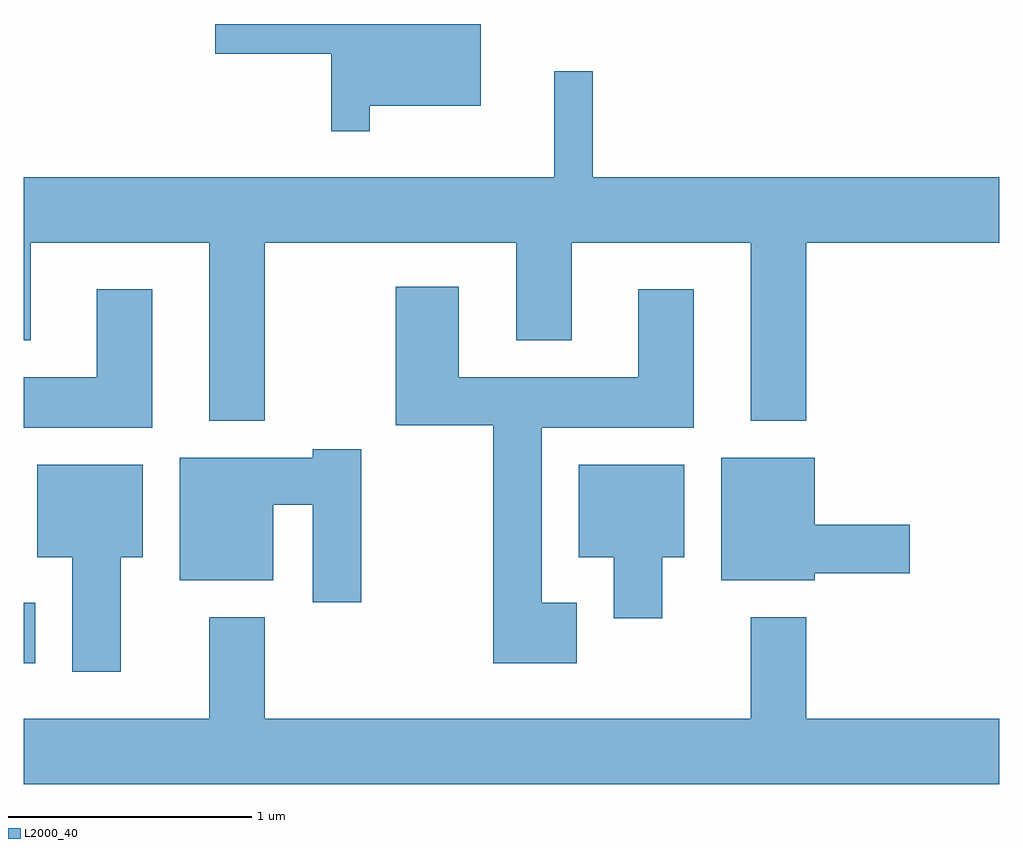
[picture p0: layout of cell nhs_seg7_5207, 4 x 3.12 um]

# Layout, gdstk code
import gdstk
lib = gdstk.Library(unit=1e-6, precision=1e-09)
def R(c, l, rs):  # rectangles x0, y0, x1, y1
    for r in rs: c.add(gdstk.rectangle(r[:2], r[2:], *l))
def P(c, l, *ps):  # polygons
    for p in ps: c.add(gdstk.Polygon(p, *l))
L2000_40 = (2000, 40)

nhs_seg7_5207 = lib.new_cell('nhs_seg7_5207')
R(nhs_seg7_5207, L2000_40, [(343.611,1783.631,343.659,1783.879)])
P(nhs_seg7_5207, L2000_40, [(345.029,1785.916),(345.484,1785.916),(345.484,1786.252),(344.396,1786.252),(344.396,1786.131),(344.871,1786.131),(344.871,1785.813),(345.029,1785.813)],
  [(344.599,1785.356),(345.631,1785.356),(345.631,1784.956),(345.859,1784.956),(345.859,1785.356),(346.591,1785.356),(346.591,1784.626),(346.819,1784.626),(346.819,1785.356),(347.611,1785.356),(347.611,1785.624),(345.944,1785.624),(345.944,1786.058),(345.786,1786.058),(345.786,1785.624),(343.611,1785.624),(343.611,1784.956),(343.639,1784.956),(343.639,1785.356),(344.371,1785.356),(344.371,1784.626),(344.599,1784.626)],
  [(345.879,1783.879),(345.734,1783.879),(345.734,1784.596),(346.359,1784.596),(346.359,1785.164),(346.131,1785.164),(346.131,1784.804),(345.394,1784.804),(345.394,1785.174),(345.136,1785.174),(345.136,1784.606),(345.536,1784.606),(345.536,1783.631),(345.879,1783.631)],
  [(344.139,1785.164),(343.911,1785.164),(343.911,1784.804),(343.611,1784.804),(343.611,1784.596),(344.139,1784.596)],
  [(344.994,1784.509),(344.796,1784.509),(344.796,1784.474),(344.251,1784.474),(344.251,1783.971),(344.634,1783.971),(344.634,1784.281),(344.796,1784.281),(344.796,1783.881),(344.994,1783.881)],
  [(346.854,1784.001),(347.244,1784.001),(347.244,1784.199),(346.854,1784.199),(346.854,1784.474),(346.471,1784.474),(346.471,1783.971),(346.854,1783.971)],
  [(346.229,1784.066),(346.319,1784.066),(346.319,1784.444),(345.886,1784.444),(345.886,1784.066),(346.031,1784.066),(346.031,1783.816),(346.229,1783.816)],
  [(344.009,1784.066),(344.099,1784.066),(344.099,1784.444),(343.666,1784.444),(343.666,1784.066),(343.811,1784.066),(343.811,1783.596),(344.009,1783.596)],
  [(347.611,1783.404),(346.819,1783.404),(346.819,1783.819),(346.591,1783.819),(346.591,1783.404),(344.599,1783.404),(344.599,1783.819),(344.371,1783.819),(344.371,1783.404),(343.611,1783.404),(343.611,1783.136),(347.611,1783.136)])

lib.write_gds('nhs_seg7_5207.gds')
